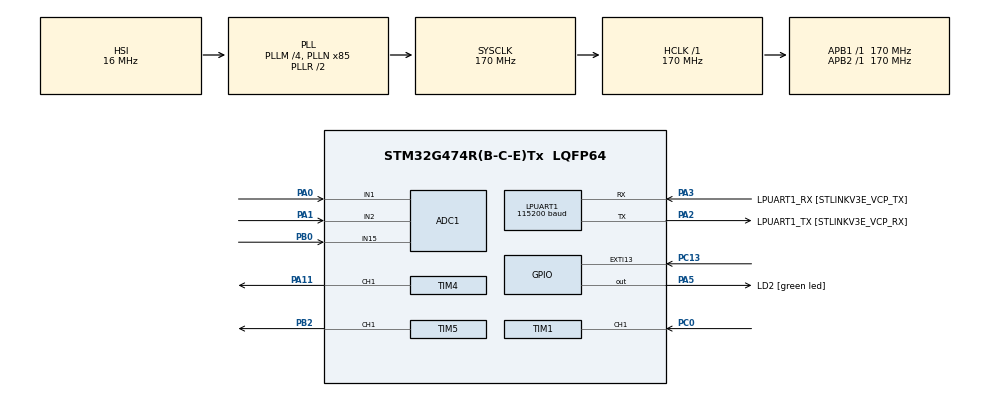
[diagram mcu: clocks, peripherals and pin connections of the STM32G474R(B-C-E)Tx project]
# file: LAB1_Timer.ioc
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ADC1.Channel-0\#ChannelRegularConversion=ADC_CHANNEL_1
ADC1.Channel-1\#ChannelRegularConversion=ADC_CHANNEL_2
ADC1.Channel-2\#ChannelRegularConversion=ADC_CHANNEL_15
ADC1.ContinuousConvMode=ENABLE
ADC1.DMAContinuousRequests=ENABLE
ADC1.ExternalTrigConv=ADC_EXTERNALTRIG_T3_TRGO
ADC1.NbrOfConversion=3
ADC1.NbrOfConversionFlag=1
ADC1.OffsetNumber-0\#ChannelRegularConversion=ADC_OFFSET_NONE
ADC1.OffsetNumber-1\#ChannelRegularConversion=ADC_OFFSET_NONE
ADC1.OffsetNumber-2\#ChannelRegularConversion=ADC_OFFSET_NONE
ADC1.Rank-0\#ChannelRegularConversion=1
ADC1.Rank-1\#ChannelRegularConversion=2
ADC1.Rank-2\#ChannelRegularConversion=3
ADC1.SamplingTime-0\#ChannelRegularConversion=ADC_SAMPLETIME_640CYCLES_5
ADC1.SamplingTime-1\#ChannelRegularConversion=ADC_SAMPLETIME_640CYCLES_5
ADC1.SamplingTime-2\#ChannelRegularConversion=ADC_SAMPLETIME_640CYCLES_5
ADC1.master=1
Dma.ADC1.0.Direction=DMA_PERIPH_TO_MEMORY
Dma.ADC1.0.EventEnable=DISABLE
Dma.ADC1.0.Instance=DMA1_Channel1
Dma.ADC1.0.MemDataAlignment=DMA_MDATAALIGN_HALFWORD
Dma.ADC1.0.MemInc=DMA_MINC_ENABLE
Dma.ADC1.0.Mode=DMA_CIRCULAR
Dma.ADC1.0.PeriphDataAlignment=DMA_PDATAALIGN_HALFWORD
Dma.ADC1.0.PeriphInc=DMA_PINC_DISABLE
Dma.ADC1.0.Polarity=HAL_DMAMUX_REQ_GEN_RISING
Dma.ADC1.0.Priority=DMA_PRIORITY_LOW
Dma.ADC1.0.RequestNumber=1
Dma.ADC1.0.SignalID=NONE
Dma.ADC1.0.SyncEnable=DISABLE
Dma.ADC1.0.SyncPolarity=HAL_DMAMUX_SYNC_NO_EVENT
Dma.ADC1.0.SyncRequestNumber=1
Dma.ADC1.0.SyncSignalID=NONE
Dma.Request0=ADC1
LPUART1.BaudRate=115200
LPUART1.WordLength=UART_WORDLENGTH_8B
Mcu.Family=STM32G4
Mcu.Name=STM32G474R(B-C-E)Tx
Mcu.Package=LQFP64
NVIC.ADC1_2_IRQn=true\:0\:0\:false\:false\:true\:true\:true\:true
NVIC.DMA1_Channel1_IRQn=true\:0\:0\:false\:false\:true\:false\:true\:true
NVIC.EXTI15_10_IRQn=true\:0\:0\:false\:false\:true\:true\:true\:true
NVIC.PriorityGroup=NVIC_PRIORITYGROUP_4
NVIC.TIM2_IRQn=true\:0\:0\:false\:false\:true\:true\:true\:true
PA0.Mode=IN1-Single-Ended
PA0.Signal=ADC1_IN1
PA1.Mode=IN2-Single-Ended
PA1.Signal=ADC1_IN2
PA11.Signal=S_TIM4_CH1
PA13.GPIO_Label=T_SWDIO
PA13.Mode=Serial_Wire
PA13.Signal=SYS_JTMS-SWDIO
PA14.GPIO_Label=T_SWCLK
PA14.Mode=Serial_Wire
PA14.Signal=SYS_JTCK-SWCLK
PA2.GPIO_Label=LPUART1_TX [STLINKV3E_VCP_RX]
PA2.Mode=Asynchronous
PA2.Signal=LPUART1_TX
PA3.GPIO_Label=LPUART1_RX [STLINKV3E_VCP_TX]
PA3.Mode=Asynchronous
PA3.Signal=LPUART1_RX
PA5.GPIO_Label=LD2 [green led]
PA5.Signal=GPIO_Output
PB0.Mode=IN15-Single-Ended
PB0.Signal=ADC1_IN15
PB2.Signal=S_TIM5_CH1
PB3.GPIO_Label=T_SWO
PB3.Signal=SYS_JTDO-SWO
PC0.Signal=S_TIM1_CH1
PC13.Signal=GPXTI13
PC14-OSC32_IN.Mode=LSE-External-Oscillator
PC14-OSC32_IN.Signal=RCC_OSC32_IN
PC15-OSC32_OUT.Mode=LSE-External-Oscillator
PC15-OSC32_OUT.Signal=RCC_OSC32_OUT
PF0-OSC_IN.Mode=HSE-External-Oscillator
PF0-OSC_IN.Signal=RCC_OSC_IN
PF1-OSC_OUT.Mode=HSE-External-Oscillator
PF1-OSC_OUT.Signal=RCC_OSC_OUT
ProjectManager.HeapSize=0x200
ProjectManager.StackSize=0x400
ProjectManager.TargetToolchain=STM32CubeIDE
RCC.ADC12Freq_Value=170000000
RCC.ADC345Freq_Value=170000000
RCC.AHBFreq_Value=170000000
RCC.APB1Freq_Value=170000000
RCC.APB1TimFreq_Value=170000000
RCC.APB2Freq_Value=170000000
RCC.APB2TimFreq_Value=170000000
RCC.CortexFreq_Value=170000000
RCC.EXTERNAL_CLOCK_VALUE=12288000
RCC.HCLKFreq_Value=170000000
RCC.HSE_VALUE=24000000
RCC.HSI48_VALUE=48000000
RCC.HSI_VALUE=16000000
RCC.PLLM=RCC_PLLM_DIV4
RCC.PLLN=85
RCC.RTCClockSelection=RCC_RTCCLKSOURCE_LSE
RCC.SYSCLKFreq_VALUE=170000000
RCC.SYSCLKSource=RCC_SYSCLKSOURCE_PLLCLK
RCC.USBFreq_Value=170000000
RCC.VCOOutputFreq_Value=340000000
SH.S_TIM1_CH1.0=TIM1_CH1,PWM_Input_1
SH.S_TIM4_CH1.0=TIM4_CH1,PWM Generation1 CH1
SH.S_TIM5_CH1.0=TIM5_CH1,PWM Generation1 CH1
TIM1.PeriodNoDither=19999
TIM1.Prescaler=169
TIM2.PeriodNoDither=4294967295
TIM2.Prescaler=169
TIM3.PeriodNoDither=1
TIM3.Prescaler=56666
TIM3.TIM_MasterOutputTrigger=TIM_TRGO_UPDATE
TIM4.Channel-PWM\ Generation1\ CH1=TIM_CHANNEL_1
TIM4.PeriodNoDither=19999
TIM4.Prescaler=169
TIM4.PulseNoDither_1=2000
TIM5.Channel-PWM\ Generation1\ CH1=TIM_CHANNEL_1
TIM5.PeriodNoDither=19999
TIM5.Prescaler=169
VP_SYS_VS_DBSignals.Mode=DisableDeadBatterySignals
VP_TIM1_VS_ClockSourceINT.Mode=Internal
VP_TIM2_VS_ClockSourceINT.Mode=Internal
VP_TIM3_VS_ClockSourceINT.Mode=Internal
VP_TIM4_VS_ClockSourceINT.Mode=Internal
VP_TIM5_VS_ClockSourceINT.Mode=Internal
board=NUCLEO-G474RE

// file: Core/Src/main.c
/* USER CODE BEGIN Header */
/**
  ******************************************************************************
  * @file           : main.c
  * @brief          : Main program body
  ******************************************************************************
  * @attention
  *
  * Copyright (c) 2024 STMicroelectronics.
  * All rights reserved.
  *
  * This software is licensed under terms that can be found in the LICENSE file
  * in the root directory of this software component.
  * If no LICENSE file comes with this software, it is provided AS-IS.
  *
  ******************************************************************************
  */
/* USER CODE END Header */
#include "main.h"

ADC_HandleTypeDef hadc1;
DMA_HandleTypeDef hdma_adc1;

UART_HandleTypeDef hlpuart1;

TIM_HandleTypeDef htim1;
TIM_HandleTypeDef htim2;
TIM_HandleTypeDef htim3;
TIM_HandleTypeDef htim4;
TIM_HandleTypeDef htim5;

/* USER CODE BEGIN PV */
uint64_t timestamp = 0;
uint32_t counter = -1;
uint16_t ADC_RawRead[300] = {0};
int sum[3] = {0};
int Avg[3] = {0};
int state = 0;
int mode = 1;
int ServoTester = 0;
/* USER CODE END PV */

void SystemClock_Config(void);
static void MX_GPIO_Init(void);
static void MX_DMA_Init(void);
static void MX_LPUART1_UART_Init(void);
static void MX_TIM2_Init(void);
static void MX_ADC1_Init(void);
static void MX_TIM3_Init(void);
static void MX_TIM4_Init(void);
static void MX_TIM5_Init(void);
static void MX_TIM1_Init(void);
/* USER CODE BEGIN PFP */
void micros();
void avg();
void pot();
/* USER CODE END PFP */

int main(void)
{

  /* MCU Configuration--------------------------------------------------------*/

  /* Reset of all peripherals, Initializes the Flash interface and the Systick. */
  HAL_Init();

  /* Configure the system clock */
  SystemClock_Config();

  /* Initialize all configured peripherals */
  MX_GPIO_Init();
  MX_DMA_Init();
  MX_LPUART1_UART_Init();
  MX_TIM2_Init();
  MX_ADC1_Init();
  MX_TIM3_Init();
  MX_TIM4_Init();
  MX_TIM5_Init();
  MX_TIM1_Init();
  /* USER CODE BEGIN 2 */
  HAL_TIM_Base_Start_IT(&htim2); //Interrupt
  HAL_ADCEx_Calibration_Start(&hadc1, ADC_SINGLE_ENDED);
  HAL_ADC_Start_DMA(&hadc1, ADC_RawRead, 300);
  HAL_TIM_Base_Start(&htim3);
  HAL_TIM_Base_Start(&htim4);
  HAL_TIM_PWM_Start(&htim4, TIM_CHANNEL_1);
  HAL_TIM_Base_Start(&htim5);
  HAL_TIM_PWM_Start(&htim5, TIM_CHANNEL_1);
  HAL_TIM_IC_Start(&htim1, TIM_CHANNEL_2);
  /* USER CODE END 2 */

  /* Infinite loop */
  while (1)
  {

    /* USER CODE BEGIN 3 */
	  micros();
	  avg();
	  pot();
  }
  /* USER CODE END 3 */
}

void SystemClock_Config(void)
{
  RCC_OscInitTypeDef RCC_OscInitStruct = {0};
  RCC_ClkInitTypeDef RCC_ClkInitStruct = {0};

  /** Configure the main internal regulator output voltage
  */
  HAL_PWREx_ControlVoltageScaling(PWR_REGULATOR_VOLTAGE_SCALE1_BOOST);

  /** Initializes the RCC Oscillators according to the specified parameters
  * in the RCC_OscInitTypeDef structure.
  */
  RCC_OscInitStruct.OscillatorType = RCC_OSCILLATORTYPE_HSI;
  RCC_OscInitStruct.HSIState = RCC_HSI_ON;
  RCC_OscInitStruct.HSICalibrationValue = RCC_HSICALIBRATION_DEFAULT;
  RCC_OscInitStruct.PLL.PLLState = RCC_PLL_ON;
  RCC_OscInitStruct.PLL.PLLSource = RCC_PLLSOURCE_HSI;
  RCC_OscInitStruct.PLL.PLLM = RCC_PLLM_DIV4;
  RCC_OscInitStruct.PLL.PLLN = 85;
  RCC_OscInitStruct.PLL.PLLP = RCC_PLLP_DIV2;
  RCC_OscInitStruct.PLL.PLLQ = RCC_PLLQ_DIV2;
  RCC_OscInitStruct.PLL.PLLR = RCC_PLLR_DIV2;
  if (HAL_RCC_OscConfig(&RCC_OscInitStruct) != HAL_OK)
  {
    Error_Handler();
  }

  /** Initializes the CPU, AHB and APB buses clocks
  */
  RCC_ClkInitStruct.ClockType = RCC_CLOCKTYPE_HCLK|RCC_CLOCKTYPE_SYSCLK
                              |RCC_CLOCKTYPE_PCLK1|RCC_CLOCKTYPE_PCLK2;
  RCC_ClkInitStruct.SYSCLKSource = RCC_SYSCLKSOURCE_PLLCLK;
  RCC_ClkInitStruct.AHBCLKDivider = RCC_SYSCLK_DIV1;
  RCC_ClkInitStruct.APB1CLKDivider = RCC_HCLK_DIV1;
  RCC_ClkInitStruct.APB2CLKDivider = RCC_HCLK_DIV1;

  if (HAL_RCC_ClockConfig(&RCC_ClkInitStruct, FLASH_LATENCY_4) != HAL_OK)
  {
    Error_Handler();
  }
}

static void MX_ADC1_Init(void)
{

  ADC_MultiModeTypeDef multimode = {0};
  ADC_ChannelConfTypeDef sConfig = {0};

  /** Common config
  */
  hadc1.Instance = ADC1;
  hadc1.Init.ClockPrescaler = ADC_CLOCK_SYNC_PCLK_DIV4;
  hadc1.Init.Resolution = ADC_RESOLUTION_12B;
  hadc1.Init.DataAlign = ADC_DATAALIGN_RIGHT;
  hadc1.Init.GainCompensation = 0;
  hadc1.Init.ScanConvMode = ADC_SCAN_ENABLE;
  hadc1.Init.EOCSelection = ADC_EOC_SINGLE_CONV;
  hadc1.Init.LowPowerAutoWait = DISABLE;
  hadc1.Init.ContinuousConvMode = ENABLE;
  hadc1.Init.NbrOfConversion = 3;
  hadc1.Init.DiscontinuousConvMode = DISABLE;
  hadc1.Init.ExternalTrigConv = ADC_EXTERNALTRIG_T3_TRGO;
  hadc1.Init.ExternalTrigConvEdge = ADC_EXTERNALTRIGCONVEDGE_RISING;
  hadc1.Init.DMAContinuousRequests = ENABLE;
  hadc1.Init.Overrun = ADC_OVR_DATA_PRESERVED;
  hadc1.Init.OversamplingMode = DISABLE;
  if (HAL_ADC_Init(&hadc1) != HAL_OK)
  {
    Error_Handler();
  }

  /** Configure the ADC multi-mode
  */
  multimode.Mode = ADC_MODE_INDEPENDENT;
  if (HAL_ADCEx_MultiModeConfigChannel(&hadc1, &multimode) != HAL_OK)
  {
    Error_Handler();
  }

  /** Configure Regular Channel
  */
  sConfig.Channel = ADC_CHANNEL_1;
  sConfig.Rank = ADC_REGULAR_RANK_1;
  sConfig.SamplingTime = ADC_SAMPLETIME_640CYCLES_5;
  sConfig.SingleDiff = ADC_SINGLE_ENDED;
  sConfig.OffsetNumber = ADC_OFFSET_NONE;
  sConfig.Offset = 0;
  if (HAL_ADC_ConfigChannel(&hadc1, &sConfig) != HAL_OK)
  {
    Error_Handler();
  }

  /** Configure Regular Channel
  */
  sConfig.Channel = ADC_CHANNEL_2;
  sConfig.Rank = ADC_REGULAR_RANK_2;
  if (HAL_ADC_ConfigChannel(&hadc1, &sConfig) != HAL_OK)
  {
    Error_Handler();
  }

  /** Configure Regular Channel
  */
  sConfig.Channel = ADC_CHANNEL_15;
  sConfig.Rank = ADC_REGULAR_RANK_3;
  if (HAL_ADC_ConfigChannel(&hadc1, &sConfig) != HAL_OK)
  {
    Error_Handler();
  }

}

static void MX_LPUART1_UART_Init(void)
{

  hlpuart1.Instance = LPUART1;
  hlpuart1.Init.BaudRate = 115200;
  hlpuart1.Init.WordLength = UART_WORDLENGTH_8B;
  hlpuart1.Init.StopBits = UART_STOPBITS_1;
  hlpuart1.Init.Parity = UART_PARITY_NONE;
  hlpuart1.Init.Mode = UART_MODE_TX_RX;
  hlpuart1.Init.HwFlowCtl = UART_HWCONTROL_NONE;
  hlpuart1.Init.OneBitSampling = UART_ONE_BIT_SAMPLE_DISABLE;
  hlpuart1.Init.ClockPrescaler = UART_PRESCALER_DIV1;
  hlpuart1.AdvancedInit.AdvFeatureInit = UART_ADVFEATURE_NO_INIT;
  if (HAL_UART_Init(&hlpuart1) != HAL_OK)
  {
    Error_Handler();
  }
  if (HAL_UARTEx_SetTxFifoThreshold(&hlpuart1, UART_TXFIFO_THRESHOLD_1_8) != HAL_OK)
  {
    Error_Handler();
  }
  if (HAL_UARTEx_SetRxFifoThreshold(&hlpuart1, UART_RXFIFO_THRESHOLD_1_8) != HAL_OK)
  {
    Error_Handler();
  }
  if (HAL_UARTEx_DisableFifoMode(&hlpuart1) != HAL_OK)
  {
    Error_Handler();
  }

}

static void MX_TIM1_Init(void)
{

  TIM_ClockConfigTypeDef sClockSourceConfig = {0};
  TIM_SlaveConfigTypeDef sSlaveConfig = {0};
  TIM_IC_InitTypeDef sConfigIC = {0};
  TIM_MasterConfigTypeDef sMasterConfig = {0};

  htim1.Instance = TIM1;
  htim1.Init.Prescaler = 169;
  htim1.Init.CounterMode = TIM_COUNTERMODE_UP;
  htim1.Init.Period = 19999;
  htim1.Init.ClockDivision = TIM_CLOCKDIVISION_DIV1;
  htim1.Init.RepetitionCounter = 0;
  htim1.Init.AutoReloadPreload = TIM_AUTORELOAD_PRELOAD_DISABLE;
  if (HAL_TIM_Base_Init(&htim1) != HAL_OK)
  {
    Error_Handler();
  }
  sClockSourceConfig.ClockSource = TIM_CLOCKSOURCE_INTERNAL;
  if (HAL_TIM_ConfigClockSource(&htim1, &sClockSourceConfig) != HAL_OK)
  {
    Error_Handler();
  }
  if (HAL_TIM_IC_Init(&htim1) != HAL_OK)
  {
    Error_Handler();
  }
  sSlaveConfig.SlaveMode = TIM_SLAVEMODE_RESET;
  sSlaveConfig.InputTrigger = TIM_TS_TI1FP1;
  sSlaveConfig.TriggerPolarity = TIM_INPUTCHANNELPOLARITY_RISING;
  sSlaveConfig.TriggerPrescaler = TIM_ICPSC_DIV1;
  sSlaveConfig.TriggerFilter = 0;
  if (HAL_TIM_SlaveConfigSynchro(&htim1, &sSlaveConfig) != HAL_OK)
  {
    Error_Handler();
  }
  sConfigIC.ICPolarity = TIM_INPUTCHANNELPOLARITY_RISING;
  sConfigIC.ICSelection = TIM_ICSELECTION_DIRECTTI;
  sConfigIC.ICPrescaler = TIM_ICPSC_DIV1;
  sConfigIC.ICFilter = 0;
  if (HAL_TIM_IC_ConfigChannel(&htim1, &sConfigIC, TIM_CHANNEL_1) != HAL_OK)
  {
    Error_Handler();
  }
  sConfigIC.ICPolarity = TIM_INPUTCHANNELPOLARITY_FALLING;
  sConfigIC.ICSelection = TIM_ICSELECTION_INDIRECTTI;
  if (HAL_TIM_IC_ConfigChannel(&htim1, &sConfigIC, TIM_CHANNEL_2) != HAL_OK)
  {
    Error_Handler();
  }
  sMasterConfig.MasterOutputTrigger = TIM_TRGO_RESET;
  sMasterConfig.MasterOutputTrigger2 = TIM_TRGO2_RESET;
  sMasterConfig.MasterSlaveMode = TIM_MASTERSLAVEMODE_DISABLE;
  if (HAL_TIMEx_MasterConfigSynchronization(&htim1, &sMasterConfig) != HAL_OK)
  {
    Error_Handler();
  }

}

static void MX_TIM2_Init(void)
{

  TIM_ClockConfigTypeDef sClockSourceConfig = {0};
  TIM_MasterConfigTypeDef sMasterConfig = {0};

  htim2.Instance = TIM2;
  htim2.Init.Prescaler = 169;
  htim2.Init.CounterMode = TIM_COUNTERMODE_UP;
  htim2.Init.Period = 4.294967295E9;
  htim2.Init.ClockDivision = TIM_CLOCKDIVISION_DIV1;
  htim2.Init.AutoReloadPreload = TIM_AUTORELOAD_PRELOAD_DISABLE;
  if (HAL_TIM_Base_Init(&htim2) != HAL_OK)
  {
    Error_Handler();
  }
  sClockSourceConfig.ClockSource = TIM_CLOCKSOURCE_INTERNAL;
  if (HAL_TIM_ConfigClockSource(&htim2, &sClockSourceConfig) != HAL_OK)
  {
    Error_Handler();
  }
  sMasterConfig.MasterOutputTrigger = TIM_TRGO_RESET;
  sMasterConfig.MasterSlaveMode = TIM_MASTERSLAVEMODE_DISABLE;
  if (HAL_TIMEx_MasterConfigSynchronization(&htim2, &sMasterConfig) != HAL_OK)
  {
    Error_Handler();
  }

}

static void MX_TIM3_Init(void)
{

  TIM_ClockConfigTypeDef sClockSourceConfig = {0};
  TIM_MasterConfigTypeDef sMasterConfig = {0};

  htim3.Instance = TIM3;
  htim3.Init.Prescaler = 56666;
  htim3.Init.CounterMode = TIM_COUNTERMODE_UP;
  htim3.Init.Period = 1;
  htim3.Init.ClockDivision = TIM_CLOCKDIVISION_DIV1;
  htim3.Init.AutoReloadPreload = TIM_AUTORELOAD_PRELOAD_DISABLE;
  if (HAL_TIM_Base_Init(&htim3) != HAL_OK)
  {
    Error_Handler();
  }
  sClockSourceConfig.ClockSource = TIM_CLOCKSOURCE_INTERNAL;
  if (HAL_TIM_ConfigClockSource(&htim3, &sClockSourceConfig) != HAL_OK)
  {
    Error_Handler();
  }
  sMasterConfig.MasterOutputTrigger = TIM_TRGO_UPDATE;
  sMasterConfig.MasterSlaveMode = TIM_MASTERSLAVEMODE_DISABLE;
  if (HAL_TIMEx_MasterConfigSynchronization(&htim3, &sMasterConfig) != HAL_OK)
  {
    Error_Handler();
  }

}

static void MX_TIM4_Init(void)
{

  TIM_ClockConfigTypeDef sClockSourceConfig = {0};
  TIM_MasterConfigTypeDef sMasterConfig = {0};
  TIM_OC_InitTypeDef sConfigOC = {0};

  htim4.Instance = TIM4;
  htim4.Init.Prescaler = 169;
  htim4.Init.CounterMode = TIM_COUNTERMODE_UP;
  htim4.Init.Period = 19999;
  htim4.Init.ClockDivision = TIM_CLOCKDIVISION_DIV1;
  htim4.Init.AutoReloadPreload = TIM_AUTORELOAD_PRELOAD_DISABLE;
  if (HAL_TIM_Base_Init(&htim4) != HAL_OK)
  {
    Error_Handler();
  }
  sClockSourceConfig.ClockSource = TIM_CLOCKSOURCE_INTERNAL;
  if (HAL_TIM_ConfigClockSource(&htim4, &sClockSourceConfig) != HAL_OK)
  {
    Error_Handler();
  }
  if (HAL_TIM_PWM_Init(&htim4) != HAL_OK)
  {
    Error_Handler();
  }
  sMasterConfig.MasterOutputTrigger = TIM_TRGO_RESET;
  sMasterConfig.MasterSlaveMode = TIM_MASTERSLAVEMODE_DISABLE;
  if (HAL_TIMEx_MasterConfigSynchronization(&htim4, &sMasterConfig) != HAL_OK)
  {
    Error_Handler();
  }
  sConfigOC.OCMode = TIM_OCMODE_PWM1;
  sConfigOC.Pulse = 2000;
  sConfigOC.OCPolarity = TIM_OCPOLARITY_HIGH;
  sConfigOC.OCFastMode = TIM_OCFAST_DISABLE;
  if (HAL_TIM_PWM_ConfigChannel(&htim4, &sConfigOC, TIM_CHANNEL_1) != HAL_OK)
  {
    Error_Handler();
  }
  HAL_TIM_MspPostInit(&htim4);

}

static void MX_TIM5_Init(void)
{

  TIM_ClockConfigTypeDef sClockSourceConfig = {0};
  TIM_MasterConfigTypeDef sMasterConfig = {0};
  TIM_OC_InitTypeDef sConfigOC = {0};

  htim5.Instance = TIM5;
  htim5.Init.Prescaler = 169;
  htim5.Init.CounterMode = TIM_COUNTERMODE_UP;
  htim5.Init.Period = 19999;
  htim5.Init.ClockDivision = TIM_CLOCKDIVISION_DIV1;
  htim5.Init.AutoReloadPreload = TIM_AUTORELOAD_PRELOAD_DISABLE;
  if (HAL_TIM_Base_Init(&htim5) != HAL_OK)
  {
    Error_Handler();
  }
  sClockSourceConfig.ClockSource = TIM_CLOCKSOURCE_INTERNAL;
  if (HAL_TIM_ConfigClockSource(&htim5, &sClockSourceConfig) != HAL_OK)
  {
    Error_Handler();
  }
  if (HAL_TIM_PWM_Init(&htim5) != HAL_OK)
  {
    Error_Handler();
  }
  sMasterConfig.MasterOutputTrigger = TIM_TRGO_RESET;
  sMasterConfig.MasterSlaveMode = TIM_MASTERSLAVEMODE_DISABLE;
  if (HAL_TIMEx_MasterConfigSynchronization(&htim5, &sMasterConfig) != HAL_OK)
  {
    Error_Handler();
  }
  sConfigOC.OCMode = TIM_OCMODE_PWM1;
  sConfigOC.Pulse = 0;
  sConfigOC.OCPolarity = TIM_OCPOLARITY_HIGH;
  sConfigOC.OCFastMode = TIM_OCFAST_DISABLE;
  if (HAL_TIM_PWM_ConfigChannel(&htim5, &sConfigOC, TIM_CHANNEL_1) != HAL_OK)
  {
    Error_Handler();
  }
  HAL_TIM_MspPostInit(&htim5);

}

static void MX_DMA_Init(void)
{

  /* DMA controller clock enable */
  __HAL_RCC_DMAMUX1_CLK_ENABLE();
  __HAL_RCC_DMA1_CLK_ENABLE();

  /* DMA interrupt init */
  /* DMA1_Channel1_IRQn interrupt configuration */
  HAL_NVIC_SetPriority(DMA1_Channel1_IRQn, 0, 0);
  HAL_NVIC_EnableIRQ(DMA1_Channel1_IRQn);

}

static void MX_GPIO_Init(void)
{
  GPIO_InitTypeDef GPIO_InitStruct = {0};

  /* GPIO Ports Clock Enable */
  __HAL_RCC_GPIOC_CLK_ENABLE();
  __HAL_RCC_GPIOF_CLK_ENABLE();
  __HAL_RCC_GPIOA_CLK_ENABLE();
  __HAL_RCC_GPIOB_CLK_ENABLE();

  /*Configure GPIO pin Output Level */
  HAL_GPIO_WritePin(LD2_GPIO_Port, LD2_Pin, GPIO_PIN_RESET);

  /*Configure GPIO pin : PC13 */
  GPIO_InitStruct.Pin = GPIO_PIN_13;
  GPIO_InitStruct.Mode = GPIO_MODE_IT_RISING;
  GPIO_InitStruct.Pull = GPIO_NOPULL;
  HAL_GPIO_Init(GPIOC, &GPIO_InitStruct);

  /*Configure GPIO pin : LD2_Pin */
  GPIO_InitStruct.Pin = LD2_Pin;
  GPIO_InitStruct.Mode = GPIO_MODE_OUTPUT_PP;
  GPIO_InitStruct.Pull = GPIO_NOPULL;
  GPIO_InitStruct.Speed = GPIO_SPEED_FREQ_LOW;
  HAL_GPIO_Init(LD2_GPIO_Port, &GPIO_InitStruct);

  /* EXTI interrupt init*/
  HAL_NVIC_SetPriority(EXTI15_10_IRQn, 0, 0);
  HAL_NVIC_EnableIRQ(EXTI15_10_IRQn);

}

/* USER CODE BEGIN 4 */
void HAL_TIM_PeriodElapsedCallback(TIM_HandleTypeDef *htim)
{
	if(htim == &htim2)
	{
		counter++;
	}
}
void micros()
{
	timestamp = counter*(4294967295) + __HAL_TIM_GET_COUNTER(&htim2);
}
void avg()
{
	for (int i = 0; i < 100; i++)
	{
		sum[0] += ADC_RawRead[(3*i)];
		sum[1] += ADC_RawRead[(3*i) + 1];
		sum[2] += ADC_RawRead[(3*i) + 2];
	}
		Avg[0] = sum[0]/100;
		Avg[1] = sum[1]/100;
		Avg[2] = sum[2]/100;
		//return 0
		sum[0] = 0;
		sum[1] = 0;
		sum[2] = 0;
}
void pot()
{
	if (mode == 1)
	{
		if (Avg[0] < 1024)
		{
			state = 1;
			__HAL_TIM_SET_COMPARE(&htim4, TIM_CHANNEL_1, 500);
		}
		else if (Avg[0] < 2048)
		{
			state = 2;
			__HAL_TIM_SET_COMPARE(&htim4, TIM_CHANNEL_1, ((Avg[1]  * 2000)/4095) + 500);
		}
		else if (Avg[0] < 3072)
		{
			state = 3;
			__HAL_TIM_SET_COMPARE(&htim4, TIM_CHANNEL_1, ((Avg[2]  * 2000)/4095) + 500);
		}
		else
		{
			state = 4;
			__HAL_TIM_SET_COMPARE(&htim4, TIM_CHANNEL_1, 2500);
		}
	}
	else if (mode == 2)
	{
		__HAL_TIM_SET_COMPARE(&htim5, TIM_CHANNEL_1, ((Avg[2]  * 1100)/4095) + 900);
		ServoTester = __HAL_TIM_GET_COMPARE(&htim1, TIM_CHANNEL_2);
		__HAL_TIM_SET_COMPARE(&htim4, TIM_CHANNEL_1,ServoTester);
	}
}
void HAL_GPIO_EXTI_Callback(uint16_t GPIO_Pin)
{
    if(GPIO_Pin == GPIO_PIN_13)
    {
        if(mode==1){mode=2;}
        else if(mode==2){mode=1;}
    }
}
/* USER CODE END 4 */

void Error_Handler(void)
{
  __disable_irq();
  while (1)
  {
  }
}
